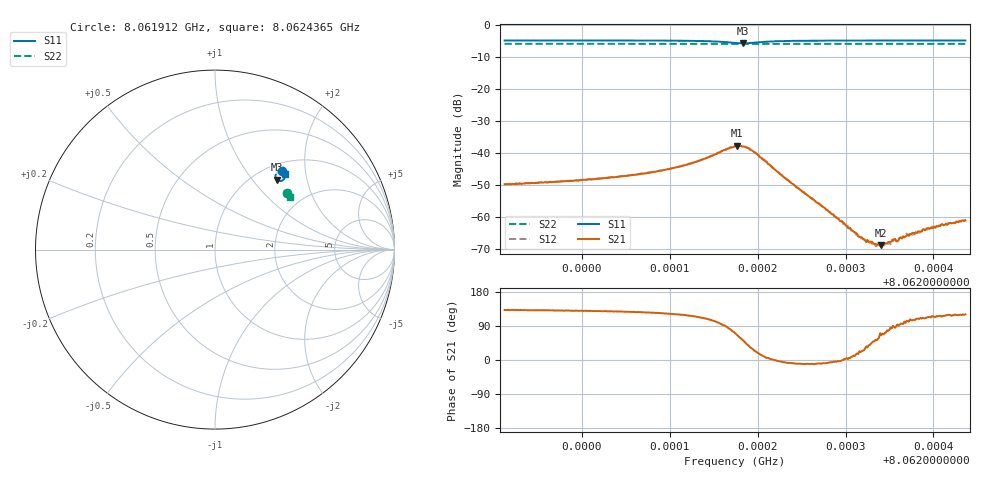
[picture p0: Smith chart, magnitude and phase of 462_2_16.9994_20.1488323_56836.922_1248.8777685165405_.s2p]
#  HZ  S  RI  R  50.00
! Rohde & Schwarz Vector Network Analyzer
! Rohde-Schwarz,ZNB20-2Port,1311601062101988,3.16
! Created: UTC 3/20/2024, 11:12:49 PM
! freq[Hz]  re:S11  im:S11  re:S21  im:S21  re:S12  im:S12  re:S22  im:S22
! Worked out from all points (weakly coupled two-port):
!   401 points, 8.061912 GHz to 8.0624365 GHz, reference 50 ohm
!   highest |S21| = -37.75 dB at 8.0621768 GHz (marker M1); lowest = -69.0 dB at 8.0623407 GHz (marker M2)
!   lowest |S11| = -5.7 dB at 8.0621834 GHz (marker M3), VSWR 3.17, Z = 62.9 + j67.1 ohm
!   |S11| at or under -10 dB: nowhere
!   |S22| runs from -5.9 to -5.8 dB; largest |S21 - S12| = 0.00095
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8.06191196e9  0.3713 0.4405  -0.00216 0.0024  -0.00202 0.00258  0.4006 0.3164
8.06199981e9  0.3778 0.4345  -0.00242 0.00288  -0.00225 0.00304  0.4038 0.3119
8.06204046e9  0.3812 0.4307  -0.00258 0.00332  -0.00239 0.00351  0.4053 0.3098
8.06208767e9  0.3857 0.4244  -0.00292 0.00434  -0.00268 0.00452  0.4071 0.3073
8.06212832e9  0.3897 0.4128  -0.003 0.00646  -0.00264 0.00673  0.4085 0.3048
8.06217421e9  0.363 0.3823  0.00417 0.012  0.00487 0.0117  0.4085 0.3016
8.06217683e9  0.3577 0.3828  0.00545 0.0118  0.00595 0.0114  0.4083 0.3016
8.06218339e9  0.3453 0.3891  0.00791 0.00984  0.0086 0.00947  0.4081 0.3019
8.0621965e9  0.337 0.4129  0.00931 0.00419  0.00966 0.0037  0.4085 0.3024
8.06222797e9  0.3581 0.435  0.00437 -0.000382  0.00441 -0.000661  0.4108 0.3015
8.06226206e9  0.3712 0.4347  0.00188 -0.000337  0.00191 -0.000486  0.4125 0.2997
8.06229353e9  0.3777 0.4322  0.000868 -4.17e-05  0.000878 -6.56e-05  0.4136 0.2981
8.06231714e9  0.3808 0.4305  0.000445 0.000171  0.000447 0.000136  0.4146 0.2967
8.06233287e9  0.3827 0.4293  0.000245 0.000285  0.00027 0.000258  0.4152 0.296
8.06234074e9  0.3835 0.4289  0.000148 0.000324  0.000175 0.000319  0.4155 0.2954
8.06234205e9  0.3837 0.4288  0.000126 0.000342  0.000187 0.000311  0.4154 0.2954
8.06234992e9  0.3846 0.4282  7.53e-05 0.000397  8.13e-05 0.000398  0.4159 0.295
8.06235385e9  0.3848 0.428  -2.43e-06 0.000441  5.55e-05 0.000408  0.4161 0.2947
8.06236041e9  0.3855 0.4275  -1.37e-06 0.00043  2.44e-05 0.00045  0.4162 0.2945
8.0623709e9  0.3865 0.4269  -0.000111 0.000519  -0.000116 0.000497  0.4166 0.2939
8.06238926e9  0.388 0.4257  -0.00022 0.0006  -0.000191 0.000629  0.4173 0.2929
8.06243646e9  0.3915 0.4228  -0.00045 0.000762  -0.00041 0.000776  0.4188 0.2905
